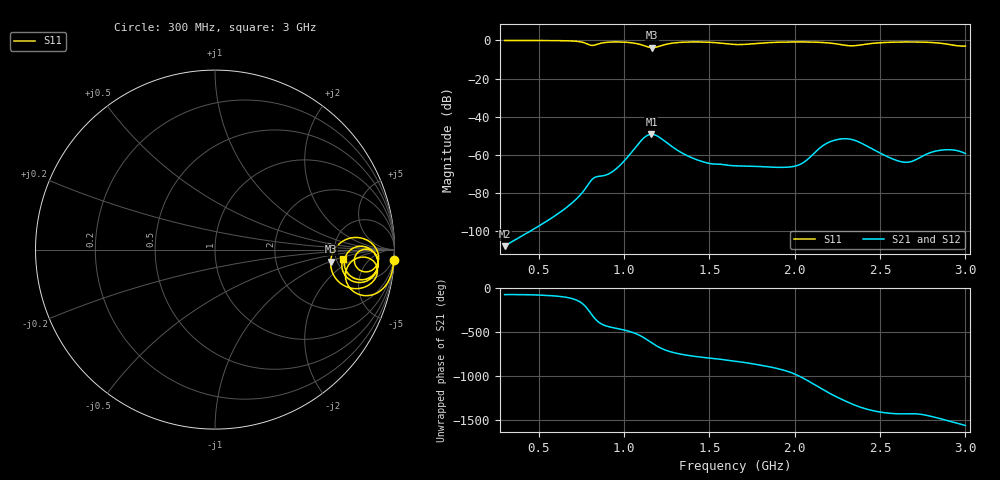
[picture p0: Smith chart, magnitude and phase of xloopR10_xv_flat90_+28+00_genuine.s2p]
! xloopR10_xv_flat90_+28+00_genuine, gap C 0.80 pF
! simulated by sim/fixtures_fdtd.py (S12 = S21, S22 not computed)
# HZ S RI R 50
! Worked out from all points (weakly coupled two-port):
!   541 points, 300 MHz to 3 GHz, reference 50 ohm
!   highest |S21| = -49.25 dB at 1.16 GHz (marker M1); lowest = -107.9 dB at 300 MHz (marker M2)
!   lowest |S11| = -3.8 dB at 1.165 GHz (marker M3), VSWR 4.68, Z = 222 - j50.7 ohm
!   |S11| at or under -10 dB: nowhere
!   |S22| runs from - to - dB; largest |S21 - S12| = 0
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3e8  0.9974 -0.0574  1.3e-06 -3.8e-06  1.3e-06 -3.8e-06  0 0
7.5e8  0.8732 -0.2529  -9.2e-05 -2.54e-05  -9.2e-05 -2.54e-05  0 0
8.05e8  0.7281 -0.1642  5.12e-05 0.0002  5.12e-05 0.0002  0 0
8.5e8  0.8127 -0.0423  0.000249 -0.00011  0.000249 -0.00011  0 0
9.45e8  0.9053 -0.1203  -1.63e-05 -0.000399  -1.63e-05 -0.000399  0 0
1.085e9  0.7744 -0.2172  -0.00194 -0.000336  -0.00194 -0.000336  0 0
1.16e9  0.6442 -0.0824  -0.000634 0.00339  -0.000634 0.00339  0 0
1.165e9  0.6442 -0.0663  -0.00025 0.00343  -0.00025 0.00343  0 0
1.2e9  0.6885 0.0291  0.00181 0.00241  0.00181 0.00241  0 0
1.3e9  0.8668 0.0403  0.00137 -0.000433  0.00137 -0.000433  0 0
1.42e9  0.9115 -0.0536  0.000408 -0.000643  0.000408 -0.000643  0 0
1.65e9  0.7795 -0.08  -0.000184 -0.00048  -0.000184 -0.00048  0 0
1.775e9  0.834 0.00161  -0.000421 -0.000262  -0.000421 -0.000262  0 0
1.98e9  0.909 -0.0622  -0.000225 0.000429  -0.000225 0.000429  0 0
2.1e9  0.8979 -0.1193  0.000959 -9.3e-06  0.000959 -9.3e-06  0 0
2.195e9  0.8472 -0.1624  -0.00066 -0.00198  -0.00066 -0.00198  0 0
2.3e9  0.7318 -0.1197  -0.00232 0.00128  -0.00232 0.00128  0 0
2.405e9  0.7831 0.0139  0.000613 0.00177  0.000613 0.00177  0 0
2.55e9  0.8919 -0.0241  0.000834 0.00023  0.000834 0.00023  0 0
2.655e9  0.9079 -0.0793  0.000631 8.79e-05  0.000631 8.79e-05  0 0
2.85e9  0.8298 -0.1803  0.000913 -0.000941  0.000913 -0.000941  0 0
3e9  0.7122 -0.0549  -0.000618 -0.000885  -0.000618 -0.000885  0 0
